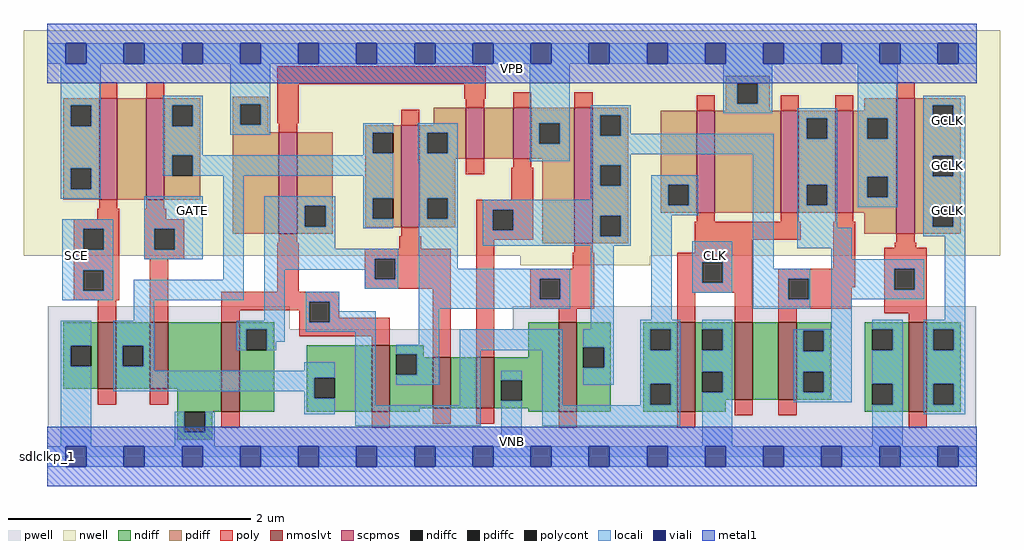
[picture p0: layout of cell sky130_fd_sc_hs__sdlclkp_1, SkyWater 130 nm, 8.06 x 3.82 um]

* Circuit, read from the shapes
.subckt sky130_fd_sc_hs__sdlclkp_1 CLK GATE SCE VGND VNB VPB VPWR GCLK
XM1 n1 SCE VGND VNB sky130_fd_pr__nfet_01v8_lvt w=0.55 l=0.15
XM2 VGND GATE n1 VNB sky130_fd_pr__nfet_01v8_lvt w=0.55 l=0.15
XM3 n2 n3 VGND VNB sky130_fd_pr__nfet_01v8_lvt w=0.74 l=0.15
XM4 n4 n3 n1 VNB sky130_fd_pr__nfet_01v8_lvt w=0.55 l=0.15
XM5 n5 n2 n4 VNB sky130_fd_pr__nfet_01v8_lvt w=0.42 l=0.15
XM6 VGND n6 n5 VNB sky130_fd_pr__nfet_01v8_lvt w=0.42 l=0.15
XM7 n6 n4 VGND VNB sky130_fd_pr__nfet_01v8_lvt w=0.74 l=0.15
XM8 VGND CLK n3 VNB sky130_fd_pr__nfet_01v8_lvt w=0.74 l=0.15
XM9 n7 CLK VGND VNB sky130_fd_pr__nfet_01v8_lvt w=0.64 l=0.15
XM10 n8 n6 n7 VNB sky130_fd_pr__nfet_01v8_lvt w=0.64 l=0.15
XM11 GCLK n8 VGND VNB sky130_fd_pr__nfet_01v8_lvt w=0.74 l=0.15
XM12 n9 SCE VPWR VPB sky130_fd_pr__pfet_01v8 w=0.84 l=0.15
XM13 n1 GATE n9 VPB sky130_fd_pr__pfet_01v8 w=0.84 l=0.15
XM14 n2 n3 VPWR VPB sky130_fd_pr__pfet_01v8 w=0.84 l=0.15
XM15 n4 n2 n1 VPB sky130_fd_pr__pfet_01v8 w=0.84 l=0.15
XM16 n10 n3 n4 VPB sky130_fd_pr__pfet_01v8 w=0.42 l=0.15
XM17 VPWR n6 n10 VPB sky130_fd_pr__pfet_01v8 w=0.42 l=0.15
XM18 n6 n4 VPWR VPB sky130_fd_pr__pfet_01v8 w=1.12 l=0.15
XM19 VPWR CLK n3 VPB sky130_fd_pr__pfet_01v8 w=0.84 l=0.15
XM20 n8 CLK VPWR VPB sky130_fd_pr__pfet_01v8 w=0.84 l=0.15
XM21 VPWR n6 n8 VPB sky130_fd_pr__pfet_01v8 w=0.84 l=0.15
XM22 GCLK n8 VPWR VPB sky130_fd_pr__pfet_01v8 w=1.12 l=0.15
.ends

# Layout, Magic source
magic
tech sky130A
magscale 1 2
<< nwell >>
rect -38 332 1574 704
rect 782 316 996 332
<< pwell >>
rect 1 210 401 248
rect 769 210 1535 248
rect 1 49 1535 210
rect 0 0 1536 49
<< scpmos >>
rect 86 424 116 592
rect 164 424 194 592
rect 383 368 413 536
rect 585 379 615 547
rect 692 492 722 576
rect 770 492 800 576
rect 871 352 901 576
rect 1073 403 1103 571
rect 1212 403 1242 571
rect 1302 403 1332 571
rect 1403 368 1433 592
<< nmoslvt >>
rect 84 112 114 222
rect 170 112 200 222
rect 288 74 318 222
rect 536 74 566 184
rect 637 80 667 164
rect 709 80 739 164
rect 845 74 875 222
rect 1041 74 1071 222
rect 1136 94 1166 222
rect 1208 94 1238 222
rect 1423 74 1453 222
<< ndiff >>
rect 27 183 84 222
rect 27 149 39 183
rect 73 149 84 183
rect 27 112 84 149
rect 114 183 170 222
rect 114 149 125 183
rect 159 149 170 183
rect 114 112 170 149
rect 200 112 288 222
rect 215 74 288 112
rect 318 210 375 222
rect 318 176 329 210
rect 363 176 375 210
rect 318 74 375 176
rect 429 130 536 184
rect 429 96 441 130
rect 475 96 536 130
rect 429 74 536 96
rect 566 169 622 184
rect 566 135 577 169
rect 611 164 622 169
rect 795 164 845 222
rect 611 135 637 164
rect 566 80 637 135
rect 667 80 709 164
rect 739 126 845 164
rect 739 92 750 126
rect 784 92 845 126
rect 739 80 845 92
rect 566 74 616 80
rect 215 40 227 74
rect 261 40 273 74
rect 795 74 845 80
rect 875 181 931 222
rect 875 147 886 181
rect 920 147 931 181
rect 875 74 931 147
rect 985 210 1041 222
rect 985 176 996 210
rect 1030 176 1041 210
rect 985 120 1041 176
rect 985 86 996 120
rect 1030 86 1041 120
rect 985 74 1041 86
rect 1071 210 1136 222
rect 1071 176 1082 210
rect 1116 176 1136 210
rect 1071 140 1136 176
rect 1071 106 1082 140
rect 1116 106 1136 140
rect 1071 94 1136 106
rect 1166 94 1208 222
rect 1238 208 1295 222
rect 1238 174 1249 208
rect 1283 174 1295 208
rect 1238 140 1295 174
rect 1238 106 1249 140
rect 1283 106 1295 140
rect 1238 94 1295 106
rect 1351 210 1423 222
rect 1351 176 1363 210
rect 1397 176 1423 210
rect 1351 120 1423 176
rect 1071 74 1121 94
rect 1351 86 1363 120
rect 1397 86 1423 120
rect 1351 74 1423 86
rect 1453 210 1509 222
rect 1453 176 1464 210
rect 1498 176 1509 210
rect 1453 120 1509 176
rect 1453 86 1464 120
rect 1498 86 1509 120
rect 1453 74 1509 86
rect 215 28 273 40
<< pdiff >>
rect 27 580 86 592
rect 27 546 39 580
rect 73 546 86 580
rect 27 476 86 546
rect 27 442 39 476
rect 73 442 86 476
rect 27 424 86 442
rect 116 424 164 592
rect 194 580 253 592
rect 194 546 207 580
rect 241 546 253 580
rect 194 498 253 546
rect 194 464 207 498
rect 241 464 253 498
rect 194 424 253 464
rect 307 582 365 594
rect 307 548 319 582
rect 353 548 365 582
rect 1121 617 1194 629
rect 307 536 365 548
rect 639 547 692 576
rect 307 368 383 536
rect 413 414 472 536
rect 413 380 426 414
rect 460 380 472 414
rect 413 368 472 380
rect 526 535 585 547
rect 526 501 538 535
rect 572 501 585 535
rect 526 427 585 501
rect 526 393 538 427
rect 572 393 585 427
rect 526 379 585 393
rect 615 535 692 547
rect 615 501 628 535
rect 662 501 692 535
rect 615 492 692 501
rect 722 492 770 576
rect 800 551 871 576
rect 800 517 813 551
rect 847 517 871 551
rect 800 492 871 517
rect 615 427 674 492
rect 615 393 628 427
rect 662 393 674 427
rect 615 379 674 393
rect 818 352 871 492
rect 901 564 960 576
rect 1121 583 1140 617
rect 1174 583 1194 617
rect 1121 571 1194 583
rect 1350 571 1403 592
rect 901 530 914 564
rect 948 530 960 564
rect 901 481 960 530
rect 901 447 914 481
rect 948 447 960 481
rect 901 398 960 447
rect 1014 449 1073 571
rect 1014 415 1026 449
rect 1060 415 1073 449
rect 1014 403 1073 415
rect 1103 403 1212 571
rect 1242 559 1302 571
rect 1242 525 1255 559
rect 1289 525 1302 559
rect 1242 449 1302 525
rect 1242 415 1255 449
rect 1289 415 1302 449
rect 1242 403 1302 415
rect 1332 559 1403 571
rect 1332 525 1355 559
rect 1389 525 1403 559
rect 1332 462 1403 525
rect 1332 428 1355 462
rect 1389 428 1403 462
rect 1332 403 1403 428
rect 901 364 914 398
rect 948 364 960 398
rect 901 352 960 364
rect 1350 368 1403 403
rect 1433 580 1509 592
rect 1433 546 1463 580
rect 1497 546 1509 580
rect 1433 497 1509 546
rect 1433 463 1463 497
rect 1497 463 1509 497
rect 1433 414 1509 463
rect 1433 380 1463 414
rect 1497 380 1509 414
rect 1433 368 1509 380
<< ndiffc >>
rect 39 149 73 183
rect 125 149 159 183
rect 329 176 363 210
rect 441 96 475 130
rect 577 135 611 169
rect 750 92 784 126
rect 227 40 261 74
rect 886 147 920 181
rect 996 176 1030 210
rect 996 86 1030 120
rect 1082 176 1116 210
rect 1082 106 1116 140
rect 1249 174 1283 208
rect 1249 106 1283 140
rect 1363 176 1397 210
rect 1363 86 1397 120
rect 1464 176 1498 210
rect 1464 86 1498 120
<< pdiffc >>
rect 39 546 73 580
rect 39 442 73 476
rect 207 546 241 580
rect 207 464 241 498
rect 319 548 353 582
rect 426 380 460 414
rect 538 501 572 535
rect 538 393 572 427
rect 628 501 662 535
rect 813 517 847 551
rect 628 393 662 427
rect 1140 583 1174 617
rect 914 530 948 564
rect 914 447 948 481
rect 1026 415 1060 449
rect 1255 525 1289 559
rect 1255 415 1289 449
rect 1355 525 1389 559
rect 1355 428 1389 462
rect 914 364 948 398
rect 1463 546 1497 580
rect 1463 463 1497 497
rect 1463 380 1497 414
<< poly >>
rect 86 592 116 618
rect 164 592 194 618
rect 380 615 725 645
rect 380 551 416 615
rect 689 591 725 615
rect 692 576 722 591
rect 770 576 800 602
rect 871 576 901 602
rect 383 536 413 551
rect 585 547 615 573
rect 86 409 116 424
rect 164 409 194 424
rect 83 392 119 409
rect 44 376 119 392
rect 44 342 60 376
rect 94 342 119 376
rect 44 308 119 342
rect 161 392 197 409
rect 161 376 227 392
rect 161 342 177 376
rect 211 342 227 376
rect 692 466 722 492
rect 770 477 800 492
rect 767 424 803 477
rect 709 408 803 424
rect 383 353 413 368
rect 585 364 615 379
rect 709 374 736 408
rect 770 374 803 408
rect 161 326 227 342
rect 44 274 60 308
rect 94 274 119 308
rect 44 258 119 274
rect 84 222 114 258
rect 170 222 200 326
rect 380 272 416 353
rect 582 343 618 364
rect 709 358 803 374
rect 525 327 667 343
rect 525 293 541 327
rect 575 293 667 327
rect 525 277 667 293
rect 288 256 483 272
rect 288 242 433 256
rect 288 222 318 242
rect 417 222 433 242
rect 467 229 483 256
rect 467 222 566 229
rect 84 86 114 112
rect 170 86 200 112
rect 417 199 566 222
rect 536 184 566 199
rect 637 164 667 277
rect 709 164 739 358
rect 1073 571 1103 597
rect 1212 571 1242 597
rect 1302 571 1332 597
rect 1403 592 1433 618
rect 1073 388 1103 403
rect 1212 388 1242 403
rect 1302 388 1332 403
rect 1070 358 1245 388
rect 871 337 901 352
rect 1070 337 1166 358
rect 868 310 904 337
rect 798 294 904 310
rect 798 260 814 294
rect 848 260 904 294
rect 798 244 904 260
rect 1041 321 1166 337
rect 1041 287 1082 321
rect 1116 287 1166 321
rect 1299 310 1335 388
rect 1403 353 1433 368
rect 1400 345 1436 353
rect 1041 271 1166 287
rect 845 222 875 244
rect 1041 222 1071 271
rect 1136 222 1166 271
rect 1208 294 1335 310
rect 1208 260 1224 294
rect 1258 280 1335 294
rect 1383 310 1453 345
rect 1258 260 1329 280
rect 1208 244 1329 260
rect 1383 276 1399 310
rect 1433 276 1453 310
rect 1208 222 1238 244
rect 1383 237 1453 276
rect 1423 222 1453 237
rect 288 48 318 74
rect 536 48 566 74
rect 637 54 667 80
rect 709 54 739 80
rect 845 48 875 74
rect 1041 48 1071 74
rect 1136 68 1166 94
rect 1208 68 1238 94
rect 1423 48 1453 74
<< polycont >>
rect 60 342 94 376
rect 177 342 211 376
rect 736 374 770 408
rect 60 274 94 308
rect 541 293 575 327
rect 433 222 467 256
rect 814 260 848 294
rect 1082 287 1116 321
rect 1224 260 1258 294
rect 1399 276 1433 310
<< locali >>
rect 0 649 31 683
rect 65 649 127 683
rect 161 649 223 683
rect 257 649 319 683
rect 353 649 415 683
rect 449 649 511 683
rect 545 649 607 683
rect 641 649 703 683
rect 737 649 799 683
rect 833 649 895 683
rect 929 649 991 683
rect 1025 649 1087 683
rect 1121 649 1183 683
rect 1217 649 1279 683
rect 1313 649 1375 683
rect 1409 649 1471 683
rect 1505 649 1536 683
rect 23 580 89 649
rect 23 546 39 580
rect 73 546 89 580
rect 23 476 89 546
rect 23 442 39 476
rect 73 442 89 476
rect 191 580 257 596
rect 191 546 207 580
rect 241 546 257 580
rect 191 498 257 546
rect 303 582 369 649
rect 303 548 319 582
rect 353 548 369 582
rect 797 551 863 649
rect 1117 617 1198 649
rect 1117 583 1140 617
rect 1174 583 1198 617
rect 303 532 369 548
rect 522 535 572 551
rect 522 501 538 535
rect 522 498 572 501
rect 191 464 207 498
rect 241 464 572 498
rect 612 535 678 551
rect 612 501 628 535
rect 662 501 678 535
rect 612 485 678 501
rect 797 517 813 551
rect 847 517 863 551
rect 797 488 863 517
rect 898 564 964 580
rect 1117 567 1198 583
rect 898 530 914 564
rect 948 533 964 564
rect 1239 559 1305 575
rect 948 530 1200 533
rect 898 499 1200 530
rect 23 426 89 442
rect 25 376 109 392
rect 25 342 60 376
rect 94 342 109 376
rect 25 308 109 342
rect 161 376 257 430
rect 161 342 177 376
rect 211 342 257 376
rect 161 326 257 342
rect 25 274 60 308
rect 94 274 109 308
rect 291 292 325 464
rect 25 258 109 274
rect 143 258 325 292
rect 359 414 476 430
rect 359 380 426 414
rect 460 380 476 414
rect 359 343 476 380
rect 522 427 572 464
rect 522 393 538 427
rect 522 377 572 393
rect 614 427 678 485
rect 614 393 628 427
rect 662 393 678 427
rect 898 481 964 499
rect 898 447 914 481
rect 948 447 964 481
rect 898 424 964 447
rect 359 327 580 343
rect 359 309 541 327
rect 143 224 177 258
rect 359 224 393 309
rect 525 293 541 309
rect 575 293 580 327
rect 525 277 580 293
rect 614 310 678 393
rect 720 408 964 424
rect 720 374 736 408
rect 770 398 964 408
rect 770 374 914 398
rect 720 364 914 374
rect 948 364 964 398
rect 720 348 964 364
rect 998 449 1076 465
rect 998 415 1026 449
rect 1060 415 1076 449
rect 998 399 1076 415
rect 614 294 864 310
rect 23 183 73 224
rect 23 149 39 183
rect 23 17 73 149
rect 109 183 177 224
rect 109 149 125 183
rect 159 149 177 183
rect 313 210 393 224
rect 313 176 329 210
rect 363 190 393 210
rect 427 256 483 272
rect 427 222 433 256
rect 467 240 483 256
rect 614 260 814 294
rect 848 260 864 294
rect 614 244 864 260
rect 467 222 543 240
rect 427 206 543 222
rect 363 176 379 190
rect 109 142 177 149
rect 425 142 475 156
rect 109 130 475 142
rect 109 108 441 130
rect 425 96 441 108
rect 211 40 227 74
rect 261 40 277 74
rect 425 70 475 96
rect 509 85 543 206
rect 614 185 648 244
rect 898 210 936 348
rect 998 226 1032 399
rect 1066 321 1132 356
rect 1066 287 1082 321
rect 1116 287 1132 321
rect 1066 271 1132 287
rect 1166 310 1200 499
rect 1239 525 1255 559
rect 1289 525 1305 559
rect 1239 449 1305 525
rect 1239 415 1255 449
rect 1289 415 1305 449
rect 1239 378 1305 415
rect 1339 559 1405 649
rect 1339 525 1355 559
rect 1389 525 1405 559
rect 1339 462 1405 525
rect 1339 428 1355 462
rect 1389 428 1405 462
rect 1339 412 1405 428
rect 1447 580 1517 596
rect 1447 546 1463 580
rect 1497 546 1517 580
rect 1447 497 1517 546
rect 1447 463 1463 497
rect 1497 463 1517 497
rect 1447 414 1517 463
rect 1447 380 1463 414
rect 1497 380 1517 414
rect 1239 344 1329 378
rect 1447 364 1517 380
rect 1295 326 1329 344
rect 1295 310 1449 326
rect 1166 294 1261 310
rect 1166 260 1224 294
rect 1258 260 1261 294
rect 1166 244 1261 260
rect 1295 276 1399 310
rect 1433 276 1449 310
rect 1295 260 1449 276
rect 577 169 648 185
rect 611 135 648 169
rect 577 119 648 135
rect 682 176 852 210
rect 682 85 716 176
rect 509 51 716 85
rect 750 126 784 142
rect 211 17 277 40
rect 750 17 784 92
rect 818 85 852 176
rect 886 181 936 210
rect 920 147 936 181
rect 886 119 936 147
rect 980 210 1046 226
rect 980 176 996 210
rect 1030 176 1046 210
rect 980 120 1046 176
rect 980 86 996 120
rect 1030 86 1046 120
rect 980 85 1046 86
rect 818 51 1046 85
rect 1082 210 1132 226
rect 1295 210 1329 260
rect 1483 226 1517 364
rect 1116 176 1132 210
rect 1082 140 1132 176
rect 1116 106 1132 140
rect 1082 17 1132 106
rect 1233 208 1329 210
rect 1233 174 1249 208
rect 1283 174 1329 208
rect 1233 140 1329 174
rect 1233 106 1249 140
rect 1283 106 1329 140
rect 1233 90 1329 106
rect 1363 210 1413 226
rect 1397 176 1413 210
rect 1363 120 1413 176
rect 1397 86 1413 120
rect 1363 17 1413 86
rect 1448 210 1517 226
rect 1448 176 1464 210
rect 1498 176 1517 210
rect 1448 120 1517 176
rect 1448 86 1464 120
rect 1498 86 1517 120
rect 1448 70 1517 86
rect 0 -17 31 17
rect 65 -17 127 17
rect 161 -17 223 17
rect 257 -17 319 17
rect 353 -17 415 17
rect 449 -17 511 17
rect 545 -17 607 17
rect 641 -17 703 17
rect 737 -17 799 17
rect 833 -17 895 17
rect 929 -17 991 17
rect 1025 -17 1087 17
rect 1121 -17 1183 17
rect 1217 -17 1279 17
rect 1313 -17 1375 17
rect 1409 -17 1471 17
rect 1505 -17 1536 17
<< viali >>
rect 31 649 65 683
rect 127 649 161 683
rect 223 649 257 683
rect 319 649 353 683
rect 415 649 449 683
rect 511 649 545 683
rect 607 649 641 683
rect 703 649 737 683
rect 799 649 833 683
rect 895 649 929 683
rect 991 649 1025 683
rect 1087 649 1121 683
rect 1183 649 1217 683
rect 1279 649 1313 683
rect 1375 649 1409 683
rect 1471 649 1505 683
rect 31 -17 65 17
rect 127 -17 161 17
rect 223 -17 257 17
rect 319 -17 353 17
rect 415 -17 449 17
rect 511 -17 545 17
rect 607 -17 641 17
rect 703 -17 737 17
rect 799 -17 833 17
rect 895 -17 929 17
rect 991 -17 1025 17
rect 1087 -17 1121 17
rect 1183 -17 1217 17
rect 1279 -17 1313 17
rect 1375 -17 1409 17
rect 1471 -17 1505 17
<< metal1 >>
rect 0 683 1536 715
rect 0 649 31 683
rect 65 649 127 683
rect 161 649 223 683
rect 257 649 319 683
rect 353 649 415 683
rect 449 649 511 683
rect 545 649 607 683
rect 641 649 703 683
rect 737 649 799 683
rect 833 649 895 683
rect 929 649 991 683
rect 1025 649 1087 683
rect 1121 649 1183 683
rect 1217 649 1279 683
rect 1313 649 1375 683
rect 1409 649 1471 683
rect 1505 649 1536 683
rect 0 617 1536 649
rect 0 17 1536 49
rect 0 -17 31 17
rect 65 -17 127 17
rect 161 -17 223 17
rect 257 -17 319 17
rect 353 -17 415 17
rect 449 -17 511 17
rect 545 -17 607 17
rect 641 -17 703 17
rect 737 -17 799 17
rect 833 -17 895 17
rect 929 -17 991 17
rect 1025 -17 1087 17
rect 1121 -17 1183 17
rect 1217 -17 1279 17
rect 1313 -17 1375 17
rect 1409 -17 1471 17
rect 1505 -17 1536 17
rect 0 -49 1536 -17
<< labels >>
rlabel comment s 0 0 0 0 4 sdlclkp_1
flabel pwell s 0 0 1536 49 0 FreeSans 200 0 0 0 VNB
port 5 nsew ground bidirectional
flabel nwell s 0 617 1536 666 0 FreeSans 200 0 0 0 VPB
port 6 nsew power bidirectional
flabel metal1 s 0 617 1536 666 0 FreeSans 340 0 0 0 VPWR
port 7 nsew power bidirectional
flabel metal1 s 0 0 1536 49 0 FreeSans 340 0 0 0 VGND
port 4 nsew ground bidirectional
flabel locali s 1471 390 1505 424 0 FreeSans 340 0 0 0 GCLK
port 8 nsew signal output
flabel locali s 1471 464 1505 498 0 FreeSans 340 0 0 0 GCLK
port 8 nsew signal output
flabel locali s 1471 538 1505 572 0 FreeSans 340 0 0 0 GCLK
port 8 nsew signal output
flabel locali s 1087 316 1121 350 0 FreeSans 340 0 0 0 CLK
port 1 nsew clock input
flabel locali s 223 390 257 424 0 FreeSans 340 0 0 0 GATE
port 2 nsew signal input
flabel locali s 31 316 65 350 0 FreeSans 340 0 0 0 SCE
port 3 nsew signal input
<< properties >>
string LEFsite unit
string LEFclass CORE
string FIXED_BBOX 0 0 1536 666
string GDS_FILE $PDKPATH/libs.ref/sky130_fd_sc_hs/gds/sky130_fd_sc_hs.gds
string LEFsymmetry X Y
string GDS_END 503406
string GDS_START 491630
<< end >>
